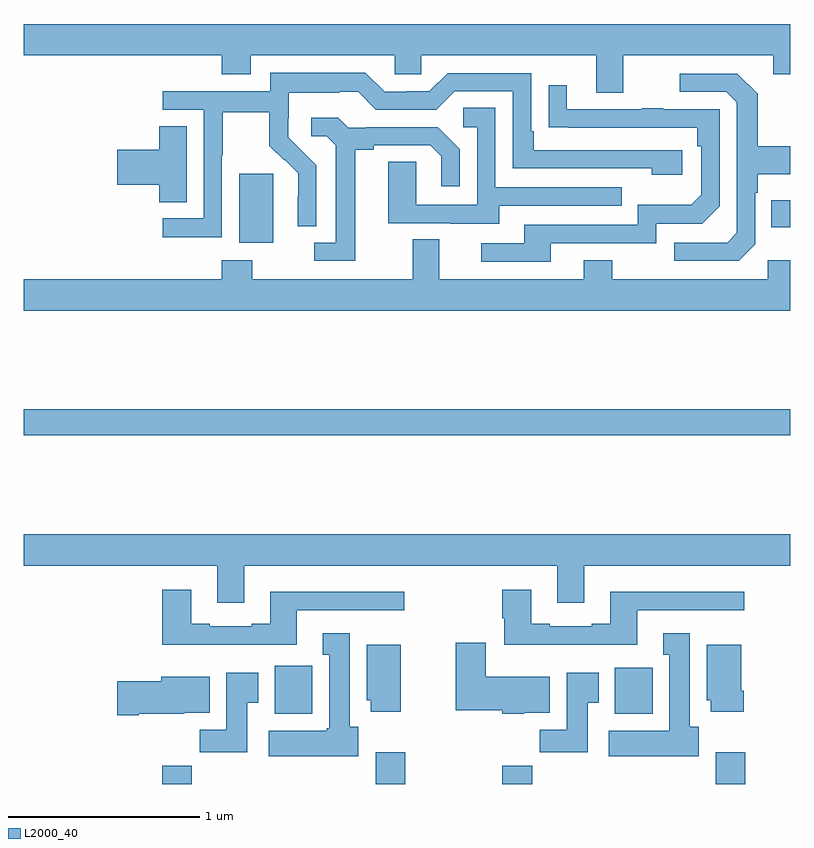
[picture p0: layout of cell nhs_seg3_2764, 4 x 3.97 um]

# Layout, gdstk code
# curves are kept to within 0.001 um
import gdstk
lib = gdstk.Library(unit=1e-6, precision=1e-09)
def R(c, l, rs):  # rectangles x0, y0, x1, y1
    for r in rs: c.add(gdstk.rectangle(r[:2], r[2:], *l))
def P(c, l, *ps):  # polygons
    for p in ps: c.add(gdstk.Polygon(p, *l))
L2000_40 = (2000, 40)

nhs_seg3_2764 = lib.new_cell('nhs_seg3_2764')
R(nhs_seg3_2764, L2000_40, [(253.721,742.4,253.877,742.496), (254.837,742.4,254.99,742.567), (255.497,742.4,255.653,742.496), (256.613,742.4,256.766,742.567), (254.309,742.766,254.505,743.017), (256.085,742.766,256.282,743.008), (253,744.22,257,744.356), (254.123,745.226,254.302,745.587), (256.903,745.307,257,745.447)])
P(nhs_seg3_2764, L2000_40, [(256.129,746.204),(256.913,746.204),(256.913,746.105),(257,746.105),(257,746.368),(253,746.368),(253,746.204),(254.033,746.204),(254.033,746.105),(254.185,746.105),(254.185,746.204),(254.937,746.204),(254.937,746.106),(255.075,746.106),(255.075,746.204),(255.989,746.204),(255.989,746.01),(256.129,746.01)],
  [(254.034,745.684),(254.037,745.684),(254.037,745.908),(254.281,745.908),(254.281,745.733),(254.358,745.656),(254.361,745.659),(254.432,745.589),(254.432,745.466),(254.43,745.466),(254.43,745.312),(254.526,745.312),(254.526,745.63),(254.38,745.778),(254.38,745.875),(254.382,745.875),(254.382,746.009),(254.645,746.009),(254.645,746.013),(254.745,746.013),(254.838,745.92),(255.153,745.92),(255.249,746.016),(255.552,746.016),(255.552,745.614),(256.277,745.614),(256.277,745.58),(256.438,745.58),(256.438,745.71),(255.661,745.71),(255.661,745.807),(255.648,745.807),(255.648,746.112),(255.213,746.112),(255.117,746.016),(254.999,746.016),(254.999,746.013),(254.883,746.013),(254.783,746.113),(254.286,746.113),(254.286,746.016),(253.725,746.016),(253.725,745.92),(253.938,745.92),(253.938,745.353),(253.725,745.353),(253.725,745.255),(254.034,745.255)],
  [(256.818,745.218),(256.818,745.487),(256.831,745.487),(256.831,745.583),(257,745.583),(257,745.731),(256.831,745.731),(256.831,746.003),(256.725,746.109),(256.425,746.109),(256.425,746.013),(256.668,746.013),(256.722,745.959),(256.722,745.278),(256.671,745.227),(256.395,745.227),(256.395,745.131),(256.731,745.131)],
  [(255.751,745.224),(256.302,745.224),(256.302,745.326),(256.542,745.326),(256.632,745.416),(256.632,745.923),(256.337,745.923),(256.337,745.928),(256.225,745.928),(256.225,745.923),(255.835,745.923),(255.835,746.047),(255.739,746.047),(255.739,745.828),(256.516,745.827),(256.516,745.73),(256.536,745.73),(256.536,745.476),(256.483,745.423),(256.206,745.423),(256.206,745.32),(255.611,745.32),(255.611,745.224),(255.387,745.224),(255.387,745.128),(255.751,745.128)],
  [(255.481,745.419),(256.121,745.419),(256.121,745.515),(255.462,745.515),(255.462,745.931),(255.294,745.931),(255.294,745.83),(255.366,745.83),(255.366,745.425),(255.048,745.425),(255.048,745.649),(254.903,745.649),(254.903,745.329),(255.227,745.329),(255.227,745.325),(255.481,745.325)],
  [(254.731,745.712),(254.827,745.712),(254.827,745.734),(255.122,745.734),(255.179,745.677),(255.179,745.521),(255.276,745.521),(255.276,745.714),(255.16,745.83),(254.788,745.83),(254.788,745.827),(254.694,745.827),(254.642,745.879),(254.499,745.879),(254.499,745.782),(254.58,745.782),(254.627,745.735),(254.627,745.227),(254.517,745.227),(254.517,745.131),(254.731,745.131)],
  [(253.849,745.835),(253.706,745.835),(253.706,745.712),(253.488,745.712),(253.488,745.529),(253.706,745.529),(253.706,745.438),(253.849,745.438)],
  [(257,745.135),(256.884,745.135),(256.884,745.036),(256.071,745.036),(256.071,745.135),(255.923,745.135),(255.923,745.036),(255.169,745.036),(255.169,745.244),(255.029,745.244),(255.029,745.036),(254.193,745.036),(254.193,745.135),(254.033,745.135),(254.033,745.036),(253,745.036),(253,744.872),(257,744.872)],
  [(254.149,743.54),(255.785,743.54),(255.785,743.346),(255.925,743.346),(255.925,743.54),(257,743.54),(257,743.704),(253,743.704),(253,743.54),(254.009,743.54),(254.009,743.346),(254.149,743.346)],
  [(254.425,743.307),(254.986,743.307),(254.986,743.404),(254.285,743.404),(254.285,743.236),(254.189,743.236),(254.189,743.223),(253.969,743.223),(253.969,743.236),(253.873,743.236),(253.873,743.413),(253.721,743.413),(253.721,743.126),(254.425,743.126)],
  [(256.201,743.307),(256.762,743.307),(256.762,743.404),(256.061,743.404),(256.061,743.236),(255.965,743.236),(255.965,743.223),(255.745,743.223),(255.745,743.236),(255.649,743.236),(255.649,743.413),(255.497,743.413),(255.497,743.265),(255.509,743.265),(255.509,743.126),(256.201,743.126)],
  [(254.746,742.698),(254.701,742.698),(254.701,743.188),(254.561,743.188),(254.561,743.075),(254.594,743.075),(254.594,742.692),(254.581,742.692),(254.581,742.678),(254.277,742.678),(254.277,742.544),(254.746,742.544)],
  [(256.522,742.698),(256.477,742.698),(256.477,743.188),(256.337,743.188),(256.337,743.075),(256.37,743.075),(256.37,742.678),(256.053,742.678),(256.053,742.544),(256.522,742.544)],
  [(255.612,742.772),(255.745,742.772),(255.745,742.96),(255.412,742.96),(255.412,743.137),(255.254,743.137),(255.254,742.784),(255.498,742.784),(255.498,742.766),(255.612,742.766)],
  [(254.968,743.128),(254.789,743.128),(254.789,742.836),(254.81,742.836),(254.81,742.776),(254.968,742.776)],
  [(256.757,742.888),(256.744,742.888),(256.744,743.128),(256.565,743.128),(256.565,742.836),(256.586,742.836),(256.586,742.776),(256.757,742.776)],
  [(254.167,742.825),(254.224,742.825),(254.224,742.981),(254.057,742.981),(254.057,742.684),(253.918,742.684),(253.918,742.566),(254.167,742.566)],
  [(255.943,742.825),(256,742.825),(256,742.981),(255.833,742.981),(255.833,742.684),(255.694,742.684),(255.694,742.566),(255.943,742.566)],
  [(253.6,742.766),(253.836,742.766),(253.836,742.772),(253.969,742.772),(253.969,742.96),(253.718,742.96),(253.718,742.937),(253.488,742.937),(253.488,742.759),(253.6,742.759)])

lib.write_gds('nhs_seg3_2764.gds')
